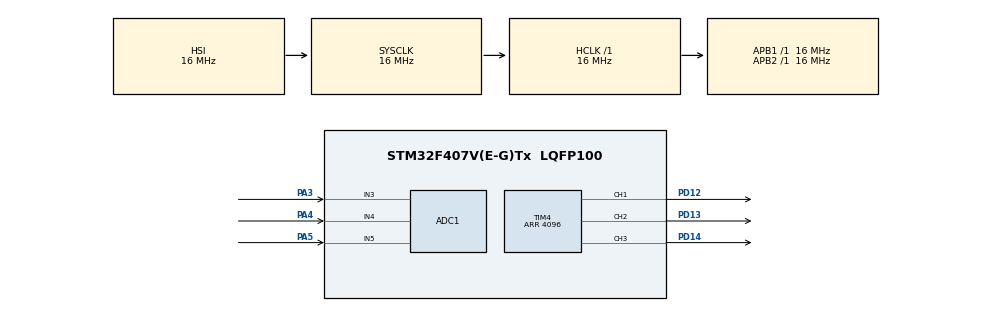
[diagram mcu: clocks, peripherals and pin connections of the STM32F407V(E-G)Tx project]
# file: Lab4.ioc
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ADC1.Channel-0\#ChannelRegularConversion=ADC_CHANNEL_3
ADC1.NbrOfConversionFlag=1
ADC1.Rank-0\#ChannelRegularConversion=1
ADC1.SamplingTime-0\#ChannelRegularConversion=ADC_SAMPLETIME_3CYCLES
ADC1.master=1
Mcu.Family=STM32F4
Mcu.Name=STM32F407V(E-G)Tx
Mcu.Package=LQFP100
NVIC.ADC_IRQn=true\:0\:0\:false\:false\:true\:true\:true\:true
NVIC.PriorityGroup=NVIC_PRIORITYGROUP_4
PA3.Signal=ADCx_IN3
PA4.Signal=ADCx_IN4
PA5.Signal=ADCx_IN5
PD12.Signal=S_TIM4_CH1
PD13.Signal=S_TIM4_CH2
PD14.Signal=S_TIM4_CH3
ProjectManager.HeapSize=0x200
ProjectManager.StackSize=0x400
ProjectManager.TargetToolchain=STM32CubeIDE
RCC.AHBFreq_Value=16000000
RCC.APB1Freq_Value=16000000
RCC.APB2Freq_Value=16000000
RCC.CortexFreq_Value=16000000
RCC.HSE_VALUE=25000000
RCC.HSI_VALUE=16000000
RCC.LSE_VALUE=32768
RCC.SYSCLKFreq_VALUE=16000000
RCC.VCOOutputFreq_Value=192000000
SH.ADCx_IN3.0=ADC1_IN3,IN3
SH.ADCx_IN4.0=ADC1_IN4,IN4
SH.ADCx_IN5.0=ADC1_IN5,IN5
SH.S_TIM4_CH1.0=TIM4_CH1,PWM Generation1 CH1
SH.S_TIM4_CH2.0=TIM4_CH2,PWM Generation2 CH2
SH.S_TIM4_CH3.0=TIM4_CH3,PWM Generation3 CH3
TIM4.Channel-PWM\ Generation1\ CH1=TIM_CHANNEL_1
TIM4.Channel-PWM\ Generation2\ CH2=TIM_CHANNEL_2
TIM4.Channel-PWM\ Generation3\ CH3=TIM_CHANNEL_3
TIM4.Period=4096
board=custom

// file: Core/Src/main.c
/* USER CODE BEGIN Header */
/**
  ******************************************************************************
  * @file           : main.c
  * @brief          : Main program body
  ******************************************************************************
  * @attention
  *
  * Copyright (c) 2024 STMicroelectronics.
  * All rights reserved.
  *
  * This software is licensed under terms that can be found in the LICENSE file
  * in the root directory of this software component.
  * If no LICENSE file comes with this software, it is provided AS-IS.
  *
  ******************************************************************************
  */
/* USER CODE END Header */
#include "main.h"

ADC_HandleTypeDef hadc1;

TIM_HandleTypeDef htim4;

void SystemClock_Config(void);
static void MX_GPIO_Init(void);
static void MX_ADC1_Init(void);
static void MX_TIM4_Init(void);

int main(void)
{

  /* MCU Configuration--------------------------------------------------------*/

  /* Reset of all peripherals, Initializes the Flash interface and the Systick. */
  HAL_Init();

  /* Configure the system clock */
  SystemClock_Config();

  /* Initialize all configured peripherals */
  MX_GPIO_Init();
  MX_ADC1_Init();
  MX_TIM4_Init();
  /* USER CODE BEGIN 2 */
  HAL_TIM_PWM_Start(&htim4, TIM_CHANNEL_1);
  HAL_TIM_PWM_Start(&htim4, TIM_CHANNEL_2);
  HAL_TIM_PWM_Start(&htim4, TIM_CHANNEL_3);
  int brightness1 = 0;
  int direction1 = 1;
  int brightness2 = 0;
  int direction2 = 3;
  int brightness3 = 0;
  int direction3 = 5;
  /* USER CODE END 2 */

  /* Infinite loop */
  /* USER CODE BEGIN WHILE */
  while (1)
  {
	  ADC_ChannelConfTypeDef adc_channel_config = {
	      .Rank = 1,
	      .SamplingTime = ADC_SAMPLETIME_480CYCLES,
	      .Channel = ADC_CHANNEL_3
	  };

	  HAL_ADC_ConfigChannel(&hadc1, &adc_channel_config);
	  HAL_ADC_Start(&hadc1);
	  HAL_StatusTypeDef status = HAL_ADC_PollForConversion(&hadc1, 1);

	  if (status != HAL_OK)
	      continue;

	  unsigned int value = HAL_ADC_GetValue(&hadc1);
	  brightness1 += direction1;

	  if (brightness1 > 4095) {
	      direction1 *= -1;
	      brightness1 = 4095;
	  } else if (brightness1 < 0) {
	      direction1 *= -1;
	      brightness1 = 0;
	  }

	  TIM4->CCR1 = brightness1;
	  brightness2 += direction2;

	  if (brightness2 > 4095) {
	      direction2 *= -1;
	      brightness2 = 4095;
	  } else if (brightness2 < 0) {
	      direction2 *= -1;
	      brightness2 = 0;
	  }

	  TIM4->CCR2 = brightness2;

	  brightness3 += direction3;

	  if (brightness3 > 4095) {
	      direction3 *= -1;
	      brightness3 = 4095;
	  } else if (brightness3 < 0) {
	      direction3 *= -1;
	      brightness3 = 0;
	  }

	  TIM4->CCR3 = brightness3;

    /* USER CODE END WHILE */

  }
}

void SystemClock_Config(void)
{
  RCC_OscInitTypeDef RCC_OscInitStruct = {0};
  RCC_ClkInitTypeDef RCC_ClkInitStruct = {0};

  /** Configure the main internal regulator output voltage
  */
  __HAL_RCC_PWR_CLK_ENABLE();
  __HAL_PWR_VOLTAGESCALING_CONFIG(PWR_REGULATOR_VOLTAGE_SCALE1);

  /** Initializes the RCC Oscillators according to the specified parameters
  * in the RCC_OscInitTypeDef structure.
  */
  RCC_OscInitStruct.OscillatorType = RCC_OSCILLATORTYPE_HSI;
  RCC_OscInitStruct.HSIState = RCC_HSI_ON;
  RCC_OscInitStruct.HSICalibrationValue = RCC_HSICALIBRATION_DEFAULT;
  RCC_OscInitStruct.PLL.PLLState = RCC_PLL_NONE;
  if (HAL_RCC_OscConfig(&RCC_OscInitStruct) != HAL_OK)
  {
    Error_Handler();
  }

  /** Initializes the CPU, AHB and APB buses clocks
  */
  RCC_ClkInitStruct.ClockType = RCC_CLOCKTYPE_HCLK|RCC_CLOCKTYPE_SYSCLK
                              |RCC_CLOCKTYPE_PCLK1|RCC_CLOCKTYPE_PCLK2;
  RCC_ClkInitStruct.SYSCLKSource = RCC_SYSCLKSOURCE_HSI;
  RCC_ClkInitStruct.AHBCLKDivider = RCC_SYSCLK_DIV1;
  RCC_ClkInitStruct.APB1CLKDivider = RCC_HCLK_DIV1;
  RCC_ClkInitStruct.APB2CLKDivider = RCC_HCLK_DIV1;

  if (HAL_RCC_ClockConfig(&RCC_ClkInitStruct, FLASH_LATENCY_0) != HAL_OK)
  {
    Error_Handler();
  }
}

static void MX_ADC1_Init(void)
{

  ADC_ChannelConfTypeDef sConfig = {0};

  /** Configure the global features of the ADC (Clock, Resolution, Data Alignment and number of conversion)
  */
  hadc1.Instance = ADC1;
  hadc1.Init.ClockPrescaler = ADC_CLOCK_SYNC_PCLK_DIV2;
  hadc1.Init.Resolution = ADC_RESOLUTION_12B;
  hadc1.Init.ScanConvMode = DISABLE;
  hadc1.Init.ContinuousConvMode = DISABLE;
  hadc1.Init.DiscontinuousConvMode = DISABLE;
  hadc1.Init.ExternalTrigConvEdge = ADC_EXTERNALTRIGCONVEDGE_NONE;
  hadc1.Init.ExternalTrigConv = ADC_SOFTWARE_START;
  hadc1.Init.DataAlign = ADC_DATAALIGN_RIGHT;
  hadc1.Init.NbrOfConversion = 1;
  hadc1.Init.DMAContinuousRequests = DISABLE;
  hadc1.Init.EOCSelection = ADC_EOC_SINGLE_CONV;
  if (HAL_ADC_Init(&hadc1) != HAL_OK)
  {
    Error_Handler();
  }

  /** Configure for the selected ADC regular channel its corresponding rank in the sequencer and its sample time.
  */
  sConfig.Channel = ADC_CHANNEL_3;
  sConfig.Rank = 1;
  sConfig.SamplingTime = ADC_SAMPLETIME_3CYCLES;
  if (HAL_ADC_ConfigChannel(&hadc1, &sConfig) != HAL_OK)
  {
    Error_Handler();
  }

}

static void MX_TIM4_Init(void)
{

  TIM_MasterConfigTypeDef sMasterConfig = {0};
  TIM_OC_InitTypeDef sConfigOC = {0};

  htim4.Instance = TIM4;
  htim4.Init.Prescaler = 0;
  htim4.Init.CounterMode = TIM_COUNTERMODE_UP;
  htim4.Init.Period = 4096;
  htim4.Init.ClockDivision = TIM_CLOCKDIVISION_DIV1;
  htim4.Init.AutoReloadPreload = TIM_AUTORELOAD_PRELOAD_DISABLE;
  if (HAL_TIM_PWM_Init(&htim4) != HAL_OK)
  {
    Error_Handler();
  }
  sMasterConfig.MasterOutputTrigger = TIM_TRGO_RESET;
  sMasterConfig.MasterSlaveMode = TIM_MASTERSLAVEMODE_DISABLE;
  if (HAL_TIMEx_MasterConfigSynchronization(&htim4, &sMasterConfig) != HAL_OK)
  {
    Error_Handler();
  }
  sConfigOC.OCMode = TIM_OCMODE_PWM1;
  sConfigOC.Pulse = 0;
  sConfigOC.OCPolarity = TIM_OCPOLARITY_HIGH;
  sConfigOC.OCFastMode = TIM_OCFAST_DISABLE;
  if (HAL_TIM_PWM_ConfigChannel(&htim4, &sConfigOC, TIM_CHANNEL_1) != HAL_OK)
  {
    Error_Handler();
  }
  if (HAL_TIM_PWM_ConfigChannel(&htim4, &sConfigOC, TIM_CHANNEL_2) != HAL_OK)
  {
    Error_Handler();
  }
  if (HAL_TIM_PWM_ConfigChannel(&htim4, &sConfigOC, TIM_CHANNEL_3) != HAL_OK)
  {
    Error_Handler();
  }
  HAL_TIM_MspPostInit(&htim4);

}

static void MX_GPIO_Init(void)
{

  /* GPIO Ports Clock Enable */
  __HAL_RCC_GPIOA_CLK_ENABLE();
  __HAL_RCC_GPIOD_CLK_ENABLE();

}

void Error_Handler(void)
{
  __disable_irq();
  while (1)
  {
  }
}
